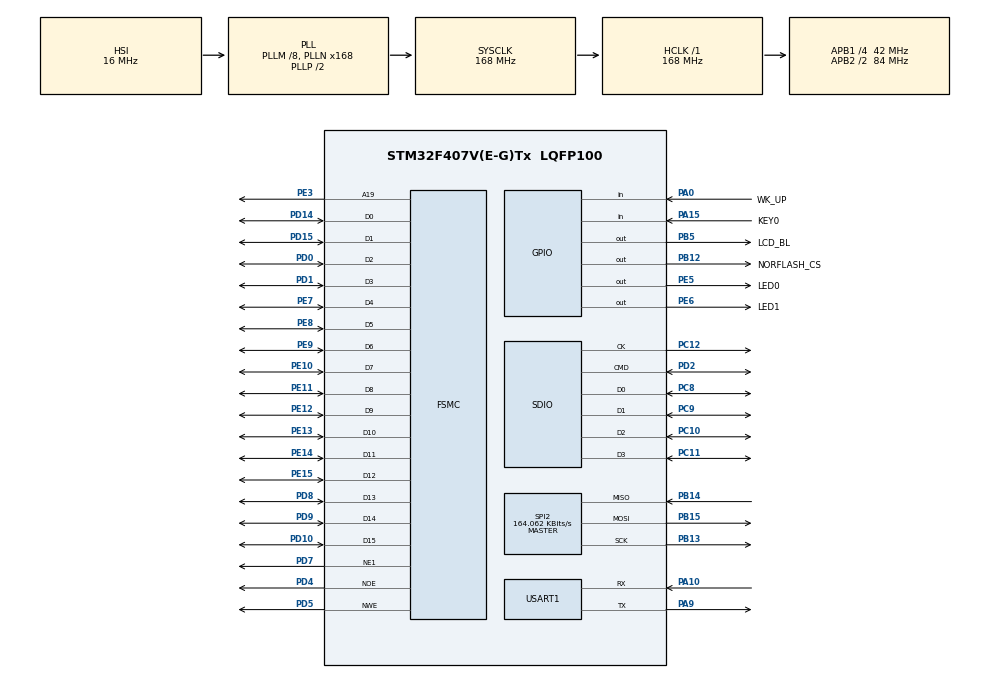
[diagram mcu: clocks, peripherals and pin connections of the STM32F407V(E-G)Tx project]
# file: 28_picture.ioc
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FATFS._CODE_PAGE=437
FATFS._USE_LABEL=1
FATFS._USE_LFN=3
FSMC.AddressSetupTime1=15
FSMC.BusTurnAroundDuration1=0
FSMC.DataSetupTime1=60
FSMC.ExtendedAddressSetupTime1=9
FSMC.ExtendedDataSetupTime1=9
FSMC.ExtendedMode1=FSMC_EXTENDED_MODE_ENABLE
Mcu.Family=STM32F4
Mcu.Name=STM32F407V(E-G)Tx
Mcu.Package=LQFP100
NVIC.PriorityGroup=NVIC_PRIORITYGROUP_2
NVIC.TIM4_IRQn=true\:2\:1\:true\:false\:true\:true\:true\:true
NVIC.USART1_IRQn=true\:2\:2\:true\:false\:true\:true\:true\:true
PA0-WKUP.GPIO_Label=WK_UP
PA0-WKUP.GPIO_PuPd=GPIO_PULLDOWN
PA0-WKUP.Signal=GPIO_Input
PA10.Mode=Asynchronous
PA10.Signal=USART1_RX
PA13.Mode=Serial_Wire
PA13.Signal=SYS_JTMS-SWDIO
PA14.Mode=Serial_Wire
PA14.Signal=SYS_JTCK-SWCLK
PA15.GPIO_Label=KEY0
PA15.GPIO_PuPd=GPIO_PULLDOWN
PA15.Signal=GPIO_Input
PA9.Mode=Asynchronous
PA9.Signal=USART1_TX
PB12.GPIO_Label=NORFLASH_CS
PB12.GPIO_PuPd=GPIO_PULLUP
PB12.GPIO_Speed=GPIO_SPEED_FREQ_HIGH
PB12.PinState=GPIO_PIN_SET
PB12.Signal=GPIO_Output
PB13.Mode=Full_Duplex_Master
PB13.Signal=SPI2_SCK
PB14.Mode=Full_Duplex_Master
PB14.Signal=SPI2_MISO
PB15.Mode=Full_Duplex_Master
PB15.Signal=SPI2_MOSI
PB5.GPIO_Label=LCD_BL
PB5.GPIO_PuPd=GPIO_PULLUP
PB5.GPIO_Speed=GPIO_SPEED_FREQ_HIGH
PB5.PinState=GPIO_PIN_SET
PB5.Signal=GPIO_Output
PC10.Mode=SD_4_bits_Wide_bus
PC10.Signal=SDIO_D2
PC11.Mode=SD_4_bits_Wide_bus
PC11.Signal=SDIO_D3
PC12.Mode=SD_4_bits_Wide_bus
PC12.Signal=SDIO_CK
PC14-OSC32_IN.Mode=LSE-External-Oscillator
PC14-OSC32_IN.Signal=RCC_OSC32_IN
PC15-OSC32_OUT.Mode=LSE-External-Oscillator
PC15-OSC32_OUT.Signal=RCC_OSC32_OUT
PC8.Mode=SD_4_bits_Wide_bus
PC8.Signal=SDIO_D0
PC9.Mode=SD_4_bits_Wide_bus
PC9.Signal=SDIO_D1
PD0.Mode=16b-d1
PD0.Signal=FSMC_D2
PD1.Mode=16b-d1
PD1.Signal=FSMC_D3
PD10.Mode=16b-d1
PD10.Signal=FSMC_D15
PD14.Mode=16b-d1
PD14.Signal=FSMC_D0
PD15.Mode=16b-d1
PD15.Signal=FSMC_D1
PD2.Mode=SD_4_bits_Wide_bus
PD2.Signal=SDIO_CMD
PD4.Mode=Lcd1
PD4.Signal=FSMC_NOE
PD5.Mode=Lcd1
PD5.Signal=FSMC_NWE
PD7.Mode=NorPsramChipSelect1_1
PD7.Signal=FSMC_NE1
PD8.Mode=16b-d1
PD8.Signal=FSMC_D13
PD9.Mode=16b-d1
PD9.Signal=FSMC_D14
PE10.Mode=16b-d1
PE10.Signal=FSMC_D7
PE11.Mode=16b-d1
PE11.Signal=FSMC_D8
PE12.Mode=16b-d1
PE12.Signal=FSMC_D9
PE13.Mode=16b-d1
PE13.Signal=FSMC_D10
PE14.Mode=16b-d1
PE14.Signal=FSMC_D11
PE15.Mode=16b-d1
PE15.Signal=FSMC_D12
PE3.Mode=A19_1
PE3.Signal=FSMC_A19
PE5.GPIO_Label=LED0
PE5.GPIO_PuPd=GPIO_PULLUP
PE5.GPIO_Speed=GPIO_SPEED_FREQ_HIGH
PE5.PinState=GPIO_PIN_SET
PE5.Signal=GPIO_Output
PE6.GPIO_Label=LED1
PE6.GPIO_PuPd=GPIO_PULLUP
PE6.GPIO_Speed=GPIO_SPEED_FREQ_HIGH
PE6.PinState=GPIO_PIN_SET
PE6.Signal=GPIO_Output
PE7.Mode=16b-d1
PE7.Signal=FSMC_D4
PE8.Mode=16b-d1
PE8.Signal=FSMC_D5
PE9.Mode=16b-d1
PE9.Signal=FSMC_D6
PH0-OSC_IN.Mode=HSE-External-Oscillator
PH0-OSC_IN.Signal=RCC_OSC_IN
PH1-OSC_OUT.Mode=HSE-External-Oscillator
PH1-OSC_OUT.Signal=RCC_OSC_OUT
ProjectManager.HeapSize=0x1000
ProjectManager.StackSize=0x400
ProjectManager.TargetToolchain=STM32CubeIDE
RCC.48MHZClocksFreq_Value=48000000
RCC.AHBFreq_Value=168000000
RCC.APB1CLKDivider=RCC_HCLK_DIV4
RCC.APB1Freq_Value=42000000
RCC.APB1TimFreq_Value=84000000
RCC.APB2CLKDivider=RCC_HCLK_DIV2
RCC.APB2Freq_Value=84000000
RCC.APB2TimFreq_Value=168000000
RCC.CortexFreq_Value=168000000
RCC.HCLKFreq_Value=168000000
RCC.HSE_VALUE=25000000
RCC.HSI_VALUE=16000000
RCC.PLLM=8
RCC.PLLN=168
RCC.PLLQ=7
RCC.SYSCLKFreq_VALUE=168000000
RCC.SYSCLKSource=RCC_SYSCLKSOURCE_PLLCLK
RCC.VCOOutputFreq_Value=336000000
SDIO.ClockDiv=0x06
SDIO.HardwareFlowControl=SDIO_HARDWARE_FLOW_CONTROL_ENABLE
SPI2.BaudRatePrescaler=SPI_BAUDRATEPRESCALER_256
SPI2.CLKPhase=SPI_PHASE_2EDGE
SPI2.CLKPolarity=SPI_POLARITY_HIGH
SPI2.CalculateBaudRate=164.062 KBits/s
SPI2.Direction=SPI_DIRECTION_2LINES
SPI2.Mode=SPI_MODE_MASTER
SPI2.VirtualType=VM_MASTER
TIM4.AutoReloadPreload=TIM_AUTORELOAD_PRELOAD_ENABLE
TIM4.Period=1000
TIM4.Prescaler=8400-1
USART1.VirtualMode=VM_ASYNC
VP_FATFS_VS_Generic.Mode=User_defined
VP_TIM4_VS_ClockSourceINT.Mode=Internal
board=custom

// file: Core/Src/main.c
/**
 ****************************************************************************************************
 * @file        main.c
 * @author      ALIENTEK
 * @brief       picture code
 * @license     Copyright (C) 2012-2024, ALIENTEK
 ****************************************************************************************************
 * @attention
 *
 * platform     : ALIENTEK M100-STM32F407 board
 * website      : www.alientek.com
 * forum        : www.openedv.com/forum.php
 *
 * change logs  :
 * version      data         notes
 * V1.0         20240409     the first version
 *
 ****************************************************************************************************
 */

 /* USER CODE BEGIN Header */

/* USER CODE END Header */
#include "main.h"
#include "fatfs.h"
#include "sdio.h"
#include "spi.h"
#include "tim.h"
#include "usart.h"
#include "gpio.h"
#include "fsmc.h"

/* USER CODE BEGIN Includes */
#include "../../ATK_Middlewares/MALLOC/malloc.h"
#include "../../BSP/LED/led.h"
#include "../../BSP/KEY/key.h"
#include "../../BSP/LCD/lcd.h"
#include "../../FatFs/exfuns/exfuns.h"
#include "../../FatFs/exfuns/fattester.h"
#include "ff.h"
/* USER CODE END Includes */

/* USER CODE BEGIN PTD */
extern uint8_t g_sd_error;
/* USER CODE END PTD */

/* USER CODE BEGIN PD */

/**
 * @brief   Displays information about the experiment
 * @param   None
 * @retval  None
 */
void stm32f407vg_show_mesg(void)
{
	/* The serial port outputs the experimental information */
	printf("\n");
	printf("********************************\r\n");
	printf("STM32F407\r\n");
	printf("FATFS Test\r\n");
	printf("ATOM@ALIENTEK\r\n");
	printf("********************************\r\n");
	printf("\r\n");
}

/**
 * @brief   Gets the number of valid image files in the specified path
 * @param   path : Specifies the path
 * @retval  The number of valid image files
 */
static uint16_t pic_get_tnum(char *path)
{
    uint8_t res;
    uint16_t rval = 0;
    DIR tdir;
    FILINFO *tfileinfo;

    /* Request memory and open the directory */
    tfileinfo = (FILINFO *)mymalloc(SRAMIN, sizeof(FILINFO));
    res = (uint8_t)f_opendir(&tdir, (const TCHAR *)path);
    if ((res == 0) && tfileinfo)
    {
        while (1)
        {
            res = (uint8_t)f_readdir(&tdir, tfileinfo);
            if ((res != 0) || (tfileinfo->fname[0] == 0))
            {
                break;
            }

            /* Check if it is an image file */
            res = exfuns_file_type(tfileinfo->fname);
            if ((res & 0xF0) == 0x50)
            {
                rval++;
            }
        }
    }

    /* free the memory */
    myfree(SRAMIN, tfileinfo);

    return rval;
}

/* USER CODE END PD */

void SystemClock_Config(void);

int main(void)
{
  /* USER CODE BEGIN 1 */
  uint8_t t = 0;
  uint8_t key;
  uint8_t res;
  DIR picdir;
  uint16_t totpicnum;
  FILINFO *picfileinfo;
  char *pname;
  uint32_t *picoffsettbl;
  uint16_t curindex;
  uint16_t temp;
  /* USER CODE END 1 */

  /* MCU Configuration--------------------------------------------------------*/

  /* Reset of all peripherals, Initializes the Flash interface and the Systick. */
  HAL_Init();

  /* Configure the system clock */
  SystemClock_Config();

  /* Initialize all configured peripherals */
  MX_GPIO_Init();
  MX_USART1_UART_Init();
  MX_FSMC_Init();
  MX_TIM4_Init();
  MX_SDIO_SD_Init();
  MX_SPI2_Init();
  MX_FATFS_Init();
  /* USER CODE BEGIN 2 */
  lcd_init();                         /* Initialize LCD */
  norflash_init();
  my_mem_init(SRAMIN);                /* Initialize the internal SRAM memory pool */
  my_mem_init(SRAMCCM);               /* Initialize the CCM memory pool */

  exfuns_init();                      /* Request memory for exfuns */
  stm32f407vg_show_mesg();

  f_mount(fs[0], "0:", 1);            /* mount SD card */
  f_mount(fs[1], "1:", 1);            /* mount NOR Flash */

  lcd_show_string(30, 30, 200, 16, 16, "STM32", RED);
  lcd_show_string(30, 50, 200, 16, 16, "PICTURE TEST", RED);
  lcd_show_string(30, 70, 200, 16, 16, "ATOM@ALIENTEK", RED);
  lcd_show_string(30, 90, 200, 16, 16, "WKUP: PREV", RED);
  lcd_show_string(30, 110, 200, 16, 16, "KEY0: NEXT", RED);

  /* Open the images folder */
  while (f_opendir(&picdir, "0:/PICTURE") != FR_OK)
  {
	lcd_show_string(30, 150, 200, 16, 16, "PICTURE Folder error!", RED);
    HAL_Delay(200);
    lcd_fill(30, 130, 200, 16, WHITE);
    HAL_Delay(200);
  }

  /* Get the number of valid image files */
  totpicnum = pic_get_tnum("0:/PICTURE");
  while (totpicnum == 0)
  {
	lcd_show_string(30, 130, 200, 16, 16, "No image files!", RED);
    HAL_Delay(200);
    lcd_fill(30, 130, 200, 16, WHITE);
    HAL_Delay(200);
  }

  /* request memory */
  picfileinfo = (FILINFO *)mymalloc(SRAMIN, sizeof(FILINFO));
  pname = (char *)mymalloc(SRAMIN, _MAX_LFN * 2 + 1);
  picoffsettbl = (uint32_t *)mymalloc(SRAMIN, 4 * totpicnum);
  while ((picfileinfo == NULL) || (pname == NULL) || (picoffsettbl == NULL))
  {
	lcd_show_string(30, 130, 200, 16, 16, "memory allocation failure!", RED);
    HAL_Delay(200);
    lcd_fill(30, 130, 200, 16, WHITE);
    HAL_Delay(200);
  }

  /* Open the directory and record the image index */
  res = (uint8_t)f_opendir(&picdir, "0:/PICTURE");
  if (res == 0)
  {
    curindex = 0;
    while (1)
    {
      temp = picdir.dptr;
      res = (uint8_t)f_readdir(&picdir, picfileinfo);
      if ((res != 0) || (picfileinfo->fname[0] == 0))
      {
        break;
      }

      res = exfuns_file_type(picfileinfo->fname);
      if ((res & 0xF0) == 0x50)
      {
        picoffsettbl[curindex] = temp;
        curindex++;
      }
    }
  }

  /* Start displaying images */
  lcd_show_string(30, 150, 200, 16, 16, "Start showing...", RED);
  HAL_Delay(1500);
  piclib_init();
  curindex = 0;
  res = (uint8_t)f_opendir(&picdir, (const TCHAR *)"0:/PICTURE");
  while (res == 0)
  {
    /* Get the next image file information */
    dir_sdi(&picdir, picoffsettbl[curindex]);
    res = (uint8_t)f_readdir(&picdir, picfileinfo);
    if ((res != 0) || (picfileinfo->fname[0] == 0))
    {
       break;
    }

    /* Display images according to the image path */
    strcpy((char *)pname, "0:/PICTURE/");
    strcat((char *)pname, (const char *)picfileinfo->fname);
    lcd_clear(BLACK);
    piclib_ai_load_picfile(pname, 0, 0, lcddev.width, lcddev.height, 1);
    lcd_show_string(2, 2, lcddev.width, 16, 16, (char *)pname, RED);
    while (1)
    {
       key = key_scan(0);
       if (key == KEY0_PRES)
       {
          /* Switch to the previous screen */
          if (curindex != 0)
          {
             curindex--;
          }
          else
          {
             curindex = totpicnum - 1;
          }
          break;
       }
       else if (key == WKUP_PRES)
       {
          /* Switch to the next screen */
          curindex++;
          if (curindex >= totpicnum)
          {
             curindex = 0;
          }
          break;
        }

        if (++t == 20)
        {
           t = 0;
           LED0_TOGGLE();
        }

        HAL_Delay(10);
    }
  }

  /* free the memory */
  myfree(SRAMIN, picfileinfo);
  myfree(SRAMIN, pname);
  myfree(SRAMIN, picoffsettbl);
  /* USER CODE END 2 */

  /* Infinite loop */
  while (1)
  {

  }
}

void SystemClock_Config(void)
{
  RCC_OscInitTypeDef RCC_OscInitStruct = {0};
  RCC_ClkInitTypeDef RCC_ClkInitStruct = {0};

  /** Configure the main internal regulator output voltage
  */
  __HAL_RCC_PWR_CLK_ENABLE();
  __HAL_PWR_VOLTAGESCALING_CONFIG(PWR_REGULATOR_VOLTAGE_SCALE1);

  /** Initializes the RCC Oscillators according to the specified parameters
  * in the RCC_OscInitTypeDef structure.
  */
  RCC_OscInitStruct.OscillatorType = RCC_OSCILLATORTYPE_HSI;
  RCC_OscInitStruct.HSIState = RCC_HSI_ON;
  RCC_OscInitStruct.HSICalibrationValue = RCC_HSICALIBRATION_DEFAULT;
  RCC_OscInitStruct.PLL.PLLState = RCC_PLL_ON;
  RCC_OscInitStruct.PLL.PLLSource = RCC_PLLSOURCE_HSI;
  RCC_OscInitStruct.PLL.PLLM = 8;
  RCC_OscInitStruct.PLL.PLLN = 168;
  RCC_OscInitStruct.PLL.PLLP = RCC_PLLP_DIV2;
  RCC_OscInitStruct.PLL.PLLQ = 7;
  if (HAL_RCC_OscConfig(&RCC_OscInitStruct) != HAL_OK)
  {
    Error_Handler();
  }

  /** Initializes the CPU, AHB and APB buses clocks
  */
  RCC_ClkInitStruct.ClockType = RCC_CLOCKTYPE_HCLK|RCC_CLOCKTYPE_SYSCLK
                              |RCC_CLOCKTYPE_PCLK1|RCC_CLOCKTYPE_PCLK2;
  RCC_ClkInitStruct.SYSCLKSource = RCC_SYSCLKSOURCE_PLLCLK;
  RCC_ClkInitStruct.AHBCLKDivider = RCC_SYSCLK_DIV1;
  RCC_ClkInitStruct.APB1CLKDivider = RCC_HCLK_DIV4;
  RCC_ClkInitStruct.APB2CLKDivider = RCC_HCLK_DIV2;

  if (HAL_RCC_ClockConfig(&RCC_ClkInitStruct, FLASH_LATENCY_5) != HAL_OK)
  {
    Error_Handler();
  }
}

void Error_Handler(void)
{
  __disable_irq();
  while (1)
  {
  }
}
